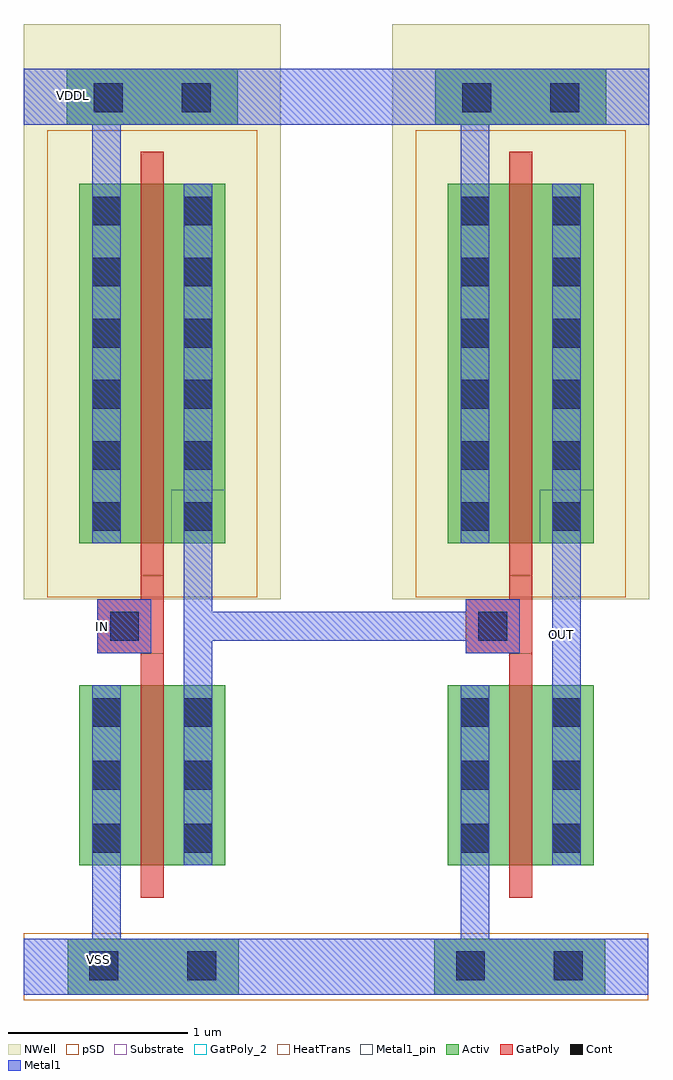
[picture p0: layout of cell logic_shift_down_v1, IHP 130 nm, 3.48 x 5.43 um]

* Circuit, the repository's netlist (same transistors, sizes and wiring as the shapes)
** sch_path: /home/designer/shared/designs/SSDOR_1.2V_v2-1/components/logic_shift_down_v1/logic_shift_down_v1.sch
.subckt logic_shift_down_v1 VDDL IN OUT VSS
*.PININFO IN:I OUT:O VDDL:B VSS:B
M1 net1 IN VDDL VDDL sg13_lv_pmos w=2u l=0.13u ng=1 m=1
M2 net1 IN VSS VSS sg13_lv_nmos w=1u l=0.13u ng=1 m=1
M3 OUT net1 VDDL VDDL sg13_lv_pmos w=2u l=0.13u ng=1 m=1
M4 OUT net1 VSS VSS sg13_lv_nmos w=1u l=0.13u ng=1 m=1
.ends

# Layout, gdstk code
import gdstk
lib = gdstk.Library(unit=1e-6, precision=5e-09)
def R(c, l, rs):  # rectangles x0, y0, x1, y1
    for r in rs: c.add(gdstk.rectangle(r[:2], r[2:], *l))
def A(c, l, x, y, w, h, nx, ny, dx, dy):  # array of equal rectangles
    R(c, l, [(x+i*dx, y+j*dy, x+i*dx+w, y+j*dy+h) for i in range(nx) for j in range(ny)])
Activ = (1, 0)
GatPoly = (5, 0)
GatPoly_2 = (5, 2)
Cont = (6, 0)
Metal1 = (8, 0)
Metal1_pin = (8, 2)
pSD = (14, 0)
NWell = (31, 0)
Substrate = (40, 0)
HeatTrans = (51, 0)

pmos_1 = lib.new_cell('pmos$1')
R(pmos_1, Activ, [(0,0,0.3,0.3), (0,0,0.81,2), (0.51,0,0.81,0.3)])
R(pmos_1, GatPoly, [(0.34,-0.18,0.47,2.18), (0.34,-0.18,0.47,2.18)])
A(pmos_1, Cont, 0.07, 0.07, 0.16, 0.16, 1, 6, 0, 0.34)
A(pmos_1, Cont, 0.58, 0.07, 0.16, 0.16, 1, 6, 0, 0.34)
R(pmos_1, Metal1, [(0.07,0,0.23,2), (0.07,0,0.23,2), (0.58,0,0.74,2), (0.58,0,0.74,2)])
R(pmos_1, pSD, [(-0.18,-0.3,0.99,2.3)])
R(pmos_1, NWell, [(-0.31,-0.31,1.12,2.31)])
R(pmos_1, Substrate, [(0.51,0,0.81,0.3)])
R(pmos_1, HeatTrans, [(0.34,-0.18,0.47,2.18)])
pmos_1.add(gdstk.Label('pmos', (0.405,1), layer=63, texttype=0))
pmos_1.add(gdstk.Label('pmos', (0.405,1), layer=51, texttype=0))

nmos_1 = lib.new_cell('nmos$1')
R(nmos_1, Activ, [(0,0,0.3,0.3), (0,0,0.81,1), (0.51,0,0.81,0.3)])
R(nmos_1, GatPoly, [(0.34,-0.18,0.47,1.18)])
R(nmos_1, GatPoly_2, [(0.34,-0.18,0.47,1.18)])
A(nmos_1, Cont, 0.07, 0.07, 0.16, 0.16, 1, 3, 0, 0.35)
A(nmos_1, Cont, 0.58, 0.07, 0.16, 0.16, 1, 3, 0, 0.35)
R(nmos_1, Metal1, [(0.07,0,0.23,1), (0.58,0,0.74,1)])
R(nmos_1, Metal1_pin, [(0.07,0,0.23,1), (0.58,0,0.74,1)])
R(nmos_1, HeatTrans, [(0.34,-0.18,0.47,1.18)])
nmos_1.add(gdstk.Label('nmos', (0.405,0.5), layer=63, texttype=0))
nmos_1.add(gdstk.Label('nmos', (0.405,0.5), layer=51, texttype=0))

logic_shift_down_v1 = lib.new_cell('logic_shift_down_v1')
R(logic_shift_down_v1, Activ, [(-0.5,-0.585,0.45,-0.275), (1.54,-0.585,2.49,-0.275), (-0.505,4.255,0.445,4.565), (1.545,4.255,2.495,4.565)])
R(logic_shift_down_v1, GatPoly, [(-0.095,-0.045,0.035,4.105), (1.955,-0.045,2.085,4.105), (-0.335,1.315,-0.035,1.615), (1.715,1.315,2.015,1.615)])
R(logic_shift_down_v1, Cont, [(-0.38,-0.505,-0.22,-0.345), (0.165,-0.505,0.325,-0.345), (1.66,-0.505,1.82,-0.345), (2.205,-0.505,2.365,-0.345), (-0.265,1.385,-0.105,1.545), (1.785,1.385,1.945,1.545), (-0.355,4.325,-0.195,4.485), (0.135,4.325,0.295,4.485), (1.695,4.325,1.855,4.485), (2.185,4.325,2.345,4.485)])
R(logic_shift_down_v1, Metal1, [(-0.745,-0.585,2.73,-0.275), (-0.365,-0.415,-0.205,1.065), (1.685,-0.415,1.845,1.065), (0.145,0.205,0.305,3.855), (2.195,0.205,2.355,3.855), (-0.335,1.315,-0.035,1.615), (1.715,1.315,2.015,1.615), (0.25,1.385,1.75,1.545), (-0.365,1.99,-0.205,4.325), (1.685,1.99,1.845,4.325), (-0.745,4.255,2.735,4.565)])
R(logic_shift_down_v1, Metal1_pin, [(-0.745,-0.585,2.73,-0.275), (2.195,0.205,2.355,3.855), (-0.335,1.315,-0.035,1.615), (-0.745,4.255,2.735,4.565)])
R(logic_shift_down_v1, pSD, [(-0.745,-0.615,2.73,-0.245)])
R(logic_shift_down_v1, NWell, [(-0.745,4.235,0.685,4.815), (1.305,4.235,2.735,4.815)])
logic_shift_down_v1.add(gdstk.Reference(pmos_1, (-0.435,1.925)))
logic_shift_down_v1.add(gdstk.Reference(nmos_1, (1.615,0.135)))
logic_shift_down_v1.add(gdstk.Reference(pmos_1, (1.615,1.925)))
logic_shift_down_v1.add(gdstk.Reference(nmos_1, (-0.435,0.135)))
logic_shift_down_v1.add(gdstk.Label('IN', (-0.305,1.465), layer=8, texttype=25))
logic_shift_down_v1.add(gdstk.Label('VDDL', (-0.47,4.415), layer=8, texttype=25))
logic_shift_down_v1.add(gdstk.Label('VSS', (-0.33,-0.39), layer=8, texttype=25))
logic_shift_down_v1.add(gdstk.Label('OUT', (2.245,1.42), layer=8, texttype=25))

lib.write_gds('logic_shift_down_v1.gds')
